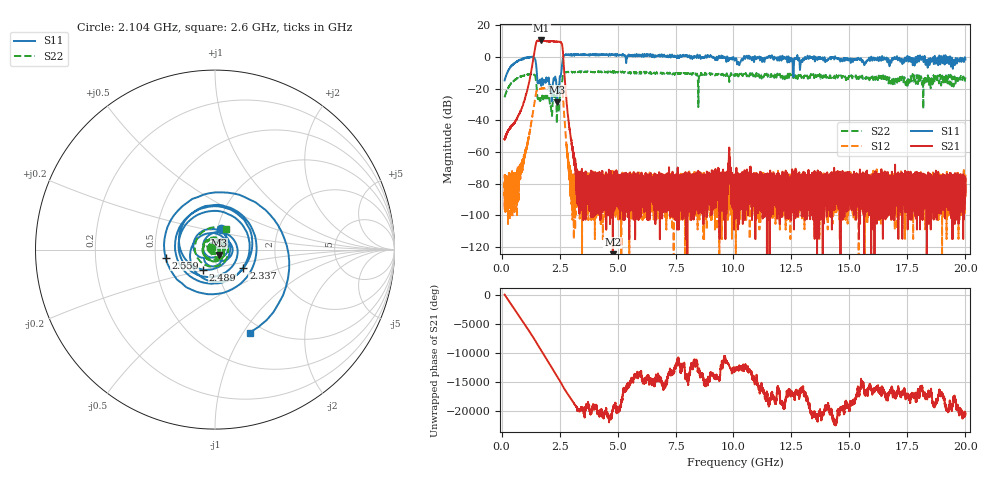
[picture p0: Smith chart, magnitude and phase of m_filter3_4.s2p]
!Created with skrf (http://scikit-rf.org).
# GHz S RI R 50.0
!freq ReS11 ImS11 ReS21 ImS21 ReS12 ImS12 ReS22 ImS22
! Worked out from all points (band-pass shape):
!   20013 points, 130 MHz to 20 GHz, reference 50 ohm
!   highest |S21| = 10.49 dB at 1.716 GHz (marker M1); lowest = -178.5 dB at 4.797 GHz (marker M2)
!   |S21| within 3 dB of the highest: 1.468 GHz to 2.615 GHz (1.148 GHz wide, 56.2 % of centre)
!   lowest |S11| = -28.7 dB at 2.397 GHz (marker M3), VSWR 1.08, Z = 52.2 - j3.09 ohm
!   |S11| at or under -10 dB: start of sweep to 241.9 MHz; 1.519 GHz to 2.573 GHz (1.054 GHz wide, 51.5 % of centre); 12.57305 GHz to 12.59002 GHz (16.97 MHz wide, 0.135 % of centre) (the widest 3 of 5)
!   |S22| runs from -42.0 to -8.9 dB; largest |S21 - S12| = 3.4
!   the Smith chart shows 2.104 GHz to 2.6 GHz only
!   S11 on the Smith chart (normalised r, x): 2.104 GHz: 1.04, +0.24; 2.337 GHz: 1.34, -0.29; 2.489 GHz: 0.85, -0.19; 2.559 GHz: 0.57, -0.06; 2.6 GHz: 0.87, -1.07
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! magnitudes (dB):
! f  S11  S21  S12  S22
! 130 MHz  -14.8  -51.9  -82.9  -25.4
! 715 MHz  -2.2  -37.2  -80.1  -13.2
! 1.066 GHz  -0.7  -23.3  -57.6  -11.3
! 1.368 GHz  -0.1  -1.1  -33.4  -10.6
! 1.716 GHz  -17.3  10.5  -20.0  -27.9
! 2.104 GHz  -18.6  9.9  -19.0  -31.8
! 2.337 GHz  -14.5  9.7  -18.5  -25.4
! 2.397 GHz  -28.7  9.8  -18.4  -34.7
! 2.489 GHz  -17.7  9.6  -18.5  -27.6
! 2.559 GHz  -11.1  9.4  -18.8  -22.7
! 2.6 GHz  -6.0  8.5  -19.5  -17.6
! 2.977 GHz  1.0  -50.7  -76.0  -9.6
! 3.218 GHz  1.6  -70.7  -79.8  -9.6
! 3.442 GHz  1.7  -75.8  -83.4  -9.1
! 4.797 GHz  1.8  -178.5  -87.7  -9.2
! 6.754 GHz  1.1  -76.7  -88.7  -9.9
! 9.576 GHz  -0.5  -86.7  -79.2  -11.6
! 9.816 GHz  -1.1  -58.3  -86.3  -15.6
! 10.06 GHz  -1.6  -80.8  -83.3  -11.0
! 13.38 GHz  -0.4  -80.3  -82.3  -12.3
! 16.69 GHz  -1.7  -99.9  -93.1  -16.4
! 20 GHz  -1.5  -76.5  -78.2  -12.8
